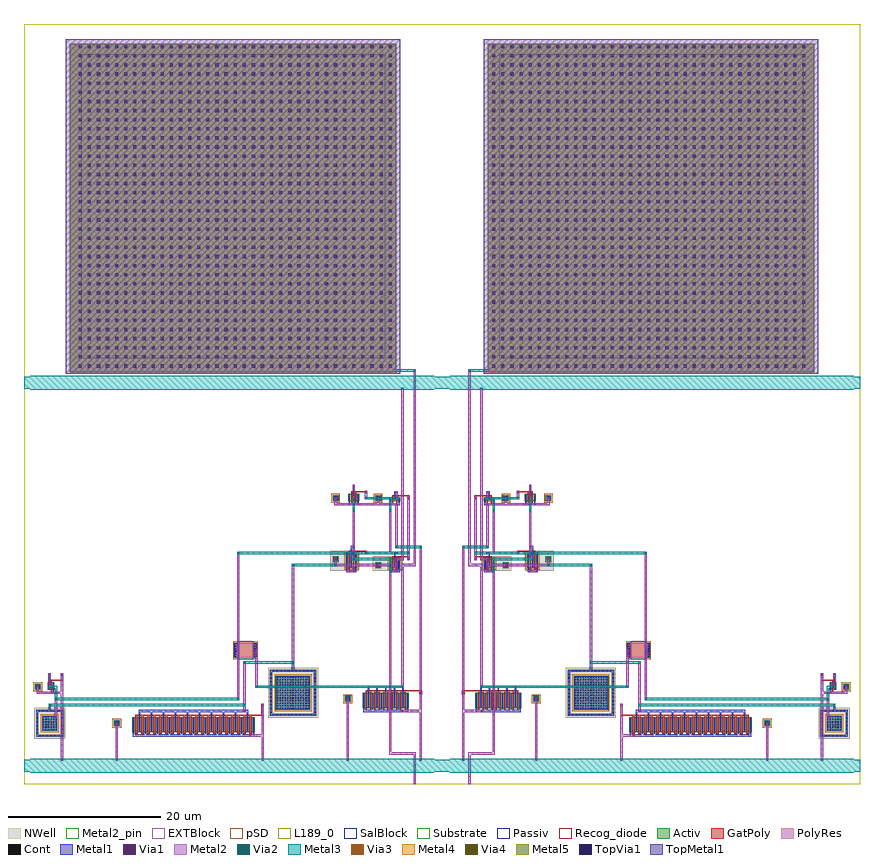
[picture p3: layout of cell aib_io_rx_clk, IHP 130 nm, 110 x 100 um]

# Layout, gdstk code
from math import pi, radians
import gdstk
lib = gdstk.Library(unit=1e-6, precision=1e-09)
def R(c, l, rs):  # rectangles x0, y0, x1, y1
    for r in rs: c.add(gdstk.rectangle(r[:2], r[2:], *l))
def A(c, l, x, y, w, h, nx, ny, dx, dy):  # array of equal rectangles
    R(c, l, [(x+i*dx, y+j*dy, x+i*dx+w, y+j*dy+h) for i in range(nx) for j in range(ny)])
Activ = (1, 0)
GatPoly = (5, 0)
Cont = (6, 0)
Metal1 = (8, 0)
Passiv = (9, 0)
Metal2 = (10, 0)
Metal2_pin = (10, 2)
pSD = (14, 0)
Via1 = (19, 0)
SalBlock = (28, 0)
Via2 = (29, 0)
Metal3 = (30, 0)
NWell = (31, 0)
Substrate = (40, 0)
Via3 = (49, 0)
Metal4 = (50, 0)
Via4 = (66, 0)
Metal5 = (67, 0)
Recog_diode = (99, 31)
EXTBlock = (111, 0)
TopVia1 = (125, 0)
TopMetal1 = (126, 0)
PolyRes = (128, 0)
L189_0 = (189, 0)

aib_io_rx = lib.new_cell('aib_io_rx')
R(aib_io_rx, Activ, [(49.8,6.2,53.4,6.5), (49.8,6.5,50.1,9.5), (53.1,6.5,53.4,9.5), (24.65,6.8,40.75,8.8), (50.6,7,52.6,9), (42.41,7.61,43.19,8.39), (16.55,8.95,22.65,9.25), (16.55,9.25,16.85,14.75), (22.35,9.25,22.65,14.75), (49.8,9.5,53.4,9.8), (17.35,9.75,21.85,14.25), (4.4,10,10.4,12), (12.01,10.81,12.79,11.59), (51,12.4,51.87,13.4), (52.81,12.41,53.59,13.19), (16.55,14.75,22.65,15.05), (5.5,28.4,6.94,29.65), (11.21,28.4,12.65,30.4), (8.01,28.41,8.79,29.19), (13.61,29.21,14.39,29.99), (5.5,37.2,6.94,37.7), (10.9,37.2,12.34,38.2), (8.01,37.21,8.79,37.99), (13.61,37.21,14.39,37.99)])
A(aib_io_rx, GatPoly, 25.02, 6.62, 0.35, 2.49, 20, 1, 0.79, 0)
A(aib_io_rx, GatPoly, 4.77, 9.82, 0.13, 2.49, 10, 1, 0.57, 0)
R(aib_io_rx, GatPoly, [(23.535,8.98,25.021,9.11), (25.02,8.98,40.38,9.11), (23.43,9.045,23.77,10.4), (23.43,10.23,23.77,10.57), (2.63,11.83,2.97,12.17), (2.63,12,2.97,12.245), (2.735,12.18,4.771,12.31), (4.77,12.18,10.03,12.31), (51.37,12.22,51.5,13.71), (49.935,13.58,51.371,13.71), (51.37,13.58,51.5,13.71), (49.83,13.645,50.17,14.4), (49.83,14.23,50.17,14.57), (24.42,16.6,27.28,18.6), (5.87,28.22,6,29.96), (6.44,28.22,6.57,29.96), (11.58,28.22,11.71,30.71), (12.15,28.22,12.28,30.71), (4.23,29.43,4.57,29.77), (4.23,29.6,4.57,29.895), (4.335,29.83,5.871,29.96), (5.87,29.83,6.57,29.96), (9.83,30.23,10.17,30.57), (9.83,30.4,10.17,30.645), (9.935,30.58,11.581,30.71), (11.58,30.58,12.28,30.71), (5.87,37.02,6,38.01), (6.44,37.02,6.57,38.01), (11.27,37.02,11.4,38.51), (11.84,37.02,11.97,38.51), (4.23,37.43,4.57,37.77), (4.23,37.6,4.57,37.945), (4.335,37.88,5.871,38.01), (5.87,37.88,6.57,38.01), (9.83,38.23,10.17,38.57), (9.935,38.38,11.271,38.51), (11.27,38.38,11.97,38.51), (9.83,38.4,10.17,38.445)])
A(aib_io_rx, Cont, 49.87, 6.27, 0.16, 0.16, 7, 2, 0.5, 3.3)
A(aib_io_rx, Cont, 49.87, 6.61, 0.16, 0.16, 1, 6, 0, 0.5)
A(aib_io_rx, Cont, 53.17, 6.61, 0.16, 0.16, 1, 6, 0, 0.5)
A(aib_io_rx, Cont, 24.72, 6.87, 0.16, 0.16, 21, 6, 0.79, 0.34)
A(aib_io_rx, Cont, 50.67, 7.07, 0.16, 0.16, 6, 6, 0.34, 0.34)
A(aib_io_rx, Cont, 16.62, 9.02, 0.16, 0.16, 12, 2, 0.5, 5.8)
A(aib_io_rx, Cont, 16.62, 9.36, 0.16, 0.16, 1, 11, 0, 0.5)
A(aib_io_rx, Cont, 22.42, 9.36, 0.16, 0.16, 1, 11, 0, 0.5)
A(aib_io_rx, Cont, 17.48, 9.88, 0.16, 0.16, 13, 13, 0.34, 0.34)
A(aib_io_rx, Cont, 4.47, 10.07, 0.16, 0.16, 11, 6, 0.57, 0.34)
A(aib_io_rx, Cont, 51.07, 12.48, 0.16, 0.16, 1, 3, 0, 0.34)
A(aib_io_rx, Cont, 51.64, 12.48, 0.16, 0.16, 1, 3, 0, 0.34)
A(aib_io_rx, Cont, 24.49, 16.67, 0.16, 0.16, 1, 6, 0, 0.34)
A(aib_io_rx, Cont, 27.05, 16.67, 0.16, 0.16, 1, 6, 0, 0.34)
A(aib_io_rx, Cont, 11.28, 28.47, 0.16, 0.16, 3, 6, 0.57, 0.34)
A(aib_io_rx, Cont, 5.57, 28.605, 0.16, 0.16, 3, 3, 0.57, 0.34)
A(aib_io_rx, Cont, 10.97, 37.28, 0.16, 0.16, 3, 3, 0.57, 0.34)
A(aib_io_rx, Cont, 5.57, 37.37, 0.16, 0.16, 3, 1, 0.57, 0)
R(aib_io_rx, Cont, [(42.55,7.75,42.71,7.91), (42.89,7.75,43.05,7.91), (42.55,8.09,42.71,8.25), (42.89,8.09,43.05,8.25), (23.52,10.32,23.68,10.48), (12.15,10.95,12.31,11.11), (12.49,10.95,12.65,11.11), (12.15,11.29,12.31,11.45), (12.49,11.29,12.65,11.45), (2.72,11.92,2.88,12.08), (52.95,12.55,53.11,12.71), (53.29,12.55,53.45,12.71), (52.95,12.89,53.11,13.05), (53.29,12.89,53.45,13.05), (49.92,14.32,50.08,14.48), (8.15,28.55,8.31,28.71), (8.49,28.55,8.65,28.71), (8.15,28.89,8.31,29.05), (8.49,28.89,8.65,29.05), (13.75,29.35,13.91,29.51), (14.09,29.35,14.25,29.51), (4.32,29.52,4.48,29.68), (13.75,29.69,13.91,29.85), (14.09,29.69,14.25,29.85), (9.92,30.32,10.08,30.48), (8.15,37.35,8.31,37.51), (8.49,37.35,8.65,37.51), (13.75,37.35,13.91,37.51), (14.09,37.35,14.25,37.51), (4.32,37.52,4.48,37.68), (8.15,37.69,8.31,37.85), (8.49,37.69,8.65,37.85), (13.75,37.69,13.91,37.85), (14.09,37.69,14.25,37.85), (9.92,38.32,10.08,38.48)])
A(aib_io_rx, Metal1, 24.72, 6.25, 0.16, 2.48, 11, 1, 1.58, 0)
A(aib_io_rx, Metal1, 25.51, 6.87, 0.16, 2.88, 10, 1, 1.58, 0)
A(aib_io_rx, Metal1, 4.47, 9.45, 0.16, 2.48, 6, 1, 1.14, 0)
A(aib_io_rx, Metal1, 5.04, 10.07, 0.16, 2.88, 5, 1, 1.14, 0)
R(aib_io_rx, Metal1, [(49.8,6.2,53.4,6.5), (24.72,6.25,40.68,6.55), (49.8,6.5,50.1,9.5), (53.1,6.5,53.4,9.5), (50.6,7,52.6,9), (42.55,7.75,43.05,8.25), (16.55,8.95,22.65,9.25), (16.55,9.25,16.85,14.75), (22.35,9.25,22.65,14.75), (4.47,9.45,10.33,9.75), (25.51,9.45,39.89,9.75), (49.8,9.5,53.4,9.8), (51.45,9.5,51.75,10.55), (17.41,9.81,21.79,14.19), (23.45,10.25,23.75,10.55), (12.15,10.95,12.65,11.45), (2.65,11.85,2.95,12.15), (50.65,11.85,51.23,12.15), (51.07,11.85,51.23,13.32), (51.64,12.48,51.8,14.55), (52.95,12.55,53.45,13.05), (5.04,12.65,9.76,12.95), (49.85,14.25,50.15,14.55), (51.45,14.25,51.8,14.55), (16.55,14.75,22.65,15.05), (19.45,14.75,19.75,16.15), (24.34,16.6,24.8,18.6), (26.9,16.6,27.36,18.6), (24.25,17.45,24.8,17.75), (26.65,17.45,27.36,17.75), (5.57,27.85,5.73,29.445), (5.57,27.85,6.87,28.15), (6.71,27.85,6.87,29.445), (11.28,27.85,11.44,30.33), (11.28,27.85,12.58,28.15), (12.42,27.85,12.58,30.33), (11.85,28.47,12.01,31.35), (8.15,28.55,8.65,29.05), (6.14,28.605,6.3,30.55), (13.75,29.35,14.25,29.85), (4.25,29.45,4.55,29.75), (5.85,30.25,6.3,30.55), (9.85,30.25,10.15,30.55), (11.45,31.05,12.01,31.35), (5.57,36.65,6.87,36.95), (5.57,36.65,5.73,37.53), (6.71,36.65,6.87,37.53), (10.97,36.65,11.13,38.12), (10.97,36.65,12.27,36.95), (12.11,36.65,12.27,38.12), (11.54,37.28,11.7,39.35), (8.15,37.35,8.65,37.85), (13.75,37.35,14.25,37.85), (6.14,37.37,6.3,38.55), (4.25,37.45,4.55,37.75), (5.85,38.25,6.3,38.55), (9.85,38.25,10.15,38.55), (11.45,39.05,11.75,39.35)])
R(aib_io_rx, Passiv, [(7.5,56,47.5,96)])
A(aib_io_rx, Metal2, 3.45, 1.45, 0.3, 1.1, 1, 3, 0, 0.8)
A(aib_io_rx, Metal2, 2.65, 3.05, 0.3, 1.1, 1, 33, 0, 0.8)
A(aib_io_rx, Metal2, 12.25, 3.05, 0.3, 1.1, 1, 10, 0, 0.8)
A(aib_io_rx, Metal2, 23.45, 3.05, 0.3, 1.1, 1, 9, 0, 0.8)
A(aib_io_rx, Metal2, 42.65, 3.05, 0.3, 1.1, 1, 6, 0, 0.8)
A(aib_io_rx, Metal2, 49.85, 3.05, 0.3, 1.1, 1, 14, 0, 0.8)
A(aib_io_rx, Metal2, 3.45, 3.85, 1.1, 0.3, 4, 1, 0.8, 0)
A(aib_io_rx, Metal2, 6.65, 3.85, 0.3, 1.1, 1, 30, 0, 0.8)
A(aib_io_rx, Metal2, 50.65, 8.65, 0.3, 1.1, 1, 3, 0, 0.8)
A(aib_io_rx, Metal2, 2.65, 9.45, 1.1, 0.3, 3, 1, 0.8, 0)
A(aib_io_rx, Metal2, 25.85, 9.45, 0.3, 1.1, 1, 8, 0, 0.8)
A(aib_io_rx, Metal2, 26.65, 11.05, 0.3, 1.1, 1, 21, 0, 0.8)
A(aib_io_rx, Metal2, 49.85, 11.85, 1.1, 0.3, 4, 1, 0.8, 0)
A(aib_io_rx, Metal2, 5.05, 12.65, 0.3, 1.1, 1, 20, 0, 0.8)
A(aib_io_rx, Metal2, 24.25, 12.65, 0.3, 1.1, 1, 6, 0, 0.8)
A(aib_io_rx, Metal2, 19.45, 15.85, 0.3, 1.1, 1, 15, 0, 0.8)
A(aib_io_rx, Metal2, 11.45, 27.85, 0.3, 0.3, 1, 3, 0, 1.6)
A(aib_io_rx, Metal2, 12.25, 27.85, 0.3, 1.1, 3, 1, 7.2, 0)
A(aib_io_rx, Metal2, 5.85, 28.65, 1.1, 0.3, 10, 2, 0.8, 8)
A(aib_io_rx, Metal2, 8.25, 28.65, 0.3, 0.3, 3, 1, 5.6, 0)
A(aib_io_rx, Metal2, 2.65, 29.45, 0.3, 1.1, 4, 2, 0.8, 0.8)
A(aib_io_rx, Metal2, 11.45, 29.45, 0.3, 1.1, 1, 8, 0, 0.8)
A(aib_io_rx, Metal2, 5.85, 30.25, 1.1, 0.3, 5, 1, 0.8, 0)
A(aib_io_rx, Metal2, 3.45, 31.05, 0.3, 1.1, 5, 6, 0.8, 0.8)
A(aib_io_rx, Metal2, 3.45, 35.85, 0.3, 1.1, 4, 1, 0.8, 0)
A(aib_io_rx, Metal2, 3.45, 36.65, 0.3, 1.1, 3, 1, 0.8, 0)
A(aib_io_rx, Metal2, 5.85, 36.65, 0.3, 0.3, 1, 3, 0, 0.8)
A(aib_io_rx, Metal2, 3.45, 37.45, 0.3, 1.1, 1, 21, 0, 0.8)
A(aib_io_rx, Metal2, 5.05, 37.45, 0.3, 1.1, 1, 18, 0, 0.8)
A(aib_io_rx, Metal2, 8.25, 37.45, 0.3, 0.3, 3, 1, 1.6, 0)
R(aib_io_rx, Metal2, [(3.45,0,3.75,4.15), (2.65,3.05,2.95,3.35), (12.25,3.05,12.55,3.35), (23.45,3.05,23.75,3.35), (42.65,3.05,42.95,3.35), (49.85,3.05,50.15,3.35), (23.45,6.25,24.55,6.55), (24.25,6.25,25.35,6.55), (25.05,6.25,25.35,6.55), (42.65,7.85,42.95,8.15), (50.65,8.65,50.95,8.95), (5.05,9.45,5.35,9.75), (25.85,9.45,26.15,9.75), (23.45,10.25,23.75,10.55), (25.85,10.25,26.15,10.55), (51.45,10.25,51.75,10.55), (51.45,10.25,51.75,10.55), (12.25,11.05,12.55,11.35), (26.65,11.05,26.95,11.35), (50.65,11.05,50.95,11.35), (2.65,11.85,2.95,12.15), (50.65,11.85,50.95,12.15), (53.05,11.85,53.35,12.95), (5.05,12.65,5.35,12.95), (5.05,12.65,5.35,12.95), (17.85,12.65,18.15,12.95), (17.85,12.65,18.15,12.95), (24.25,12.65,24.55,12.95), (51.45,12.65,51.75,13.75), (51.45,12.65,51.75,12.95), (53.05,12.65,53.35,12.95), (51.45,13.45,51.75,14.55), (49.85,14.25,50.15,14.55), (51.45,14.25,51.75,14.55), (19.45,15.85,19.75,16.15), (19.45,15.85,19.75,16.15), (25.85,15.85,26.15,16.15), (24.25,17.45,24.55,17.75), (26.65,17.45,26.95,17.75), (5.85,27.85,6.15,28.95), (5.85,27.85,6.15,28.15), (6.65,27.85,6.95,28.15), (11.45,27.85,11.75,28.95), (11.45,27.85,12.55,28.15), (3.45,28.65,3.75,29.75), (3.45,28.65,4.55,28.95), (4.25,28.65,5.35,28.95), (5.85,28.65,6.15,29.75), (13.85,28.65,14.15,29.75), (26.65,28.65,26.95,29.75), (4.25,29.45,4.55,29.75), (5.05,29.45,6.15,29.75), (13.85,29.45,14.15,29.75), (26.65,29.45,26.95,30.55), (4.25,30.25,4.55,30.55), (5.85,30.25,6.15,30.55), (6.65,30.25,6.95,31.35), (9.85,30.25,10.15,30.55), (26.65,30.25,26.95,30.55), (2.65,31.05,2.95,31.35), (5.85,31.05,6.15,31.35), (6.65,35.85,6.95,36.15), (11.45,35.85,11.75,36.15), (8.25,36.65,8.55,37.75), (11.45,36.65,11.75,36.95), (13.85,36.65,14.15,37.75), (4.25,37.45,4.55,37.75), (5.85,37.45,6.15,38.55), (9.85,37.45,10.15,38.55), (11.45,37.45,11.75,38.55), (13.85,37.45,14.15,37.75), (9.85,38.25,10.15,38.55), (11.45,38.25,11.75,39.35), (11.45,39.05,11.75,39.35), (5.05,51.85,5.35,52.15), (3.45,54.25,3.75,54.55)])
R(aib_io_rx, Metal2_pin, [(3.45,0,3.75,1)])
R(aib_io_rx, pSD, [(50.42,6.82,52.78,9.18), (42.23,7.43,43.37,8.57), (17.17,9.57,22.03,14.43), (11.83,10.63,12.97,11.77), (52.63,12.23,53.77,13.37), (24.24,16.42,27.46,18.78), (5.32,28.22,7.12,29.83), (11.03,28.22,12.83,30.58), (7.83,37.03,8.97,38.17), (13.43,37.03,14.57,38.17)])
R(aib_io_rx, Via1, [(25.105,6.305,25.295,6.495), (42.705,7.905,42.895,8.095), (50.705,8.705,50.895,8.895), (5.105,9.505,5.295,9.695), (25.905,9.505,26.095,9.695), (23.505,10.305,23.695,10.495), (51.505,10.305,51.695,10.495), (12.305,11.105,12.495,11.295), (2.705,11.905,2.895,12.095), (50.705,11.905,50.895,12.095), (5.105,12.705,5.295,12.895), (17.905,12.705,18.095,12.895), (53.105,12.705,53.295,12.895), (49.905,14.305,50.095,14.495), (51.505,14.305,51.695,14.495), (19.505,15.905,19.695,16.095), (24.305,17.505,24.495,17.695), (26.705,17.505,26.895,17.695), (5.905,27.905,6.095,28.095), (11.505,27.905,11.695,28.095), (8.305,28.705,8.495,28.895), (4.305,29.505,4.495,29.695), (13.905,29.505,14.095,29.695), (5.905,30.305,6.095,30.495), (9.905,30.305,10.095,30.495), (11.505,31.105,11.695,31.295), (5.905,36.705,6.095,36.895), (11.505,36.705,11.695,36.895), (4.305,37.505,4.495,37.695), (8.305,37.505,8.495,37.695), (13.905,37.505,14.095,37.695), (5.905,38.305,6.095,38.495), (9.905,38.305,10.095,38.495), (11.505,39.105,11.695,39.295)])
R(aib_io_rx, SalBlock, [(24.85,16.4,26.85,18.8)])
R(aib_io_rx, Via2, [(2.705,3.105,2.895,3.295), (12.305,3.105,12.495,3.295), (23.505,3.105,23.695,3.295), (42.705,3.105,42.895,3.295), (49.905,3.105,50.095,3.295), (25.905,10.305,26.095,10.495), (51.505,10.305,51.695,10.495), (26.705,11.105,26.895,11.295), (50.705,11.105,50.895,11.295), (5.105,12.705,5.295,12.895), (17.905,12.705,18.095,12.895), (24.305,12.705,24.495,12.895), (51.505,12.705,51.695,12.895), (19.505,15.905,19.695,16.095), (25.905,15.905,26.095,16.095), (6.705,27.905,6.895,28.095), (13.905,28.705,14.095,28.895), (19.505,28.705,19.695,28.895), (11.505,29.505,11.695,29.695), (4.305,30.305,4.495,30.495), (26.705,30.305,26.895,30.495), (2.705,31.105,2.895,31.295), (5.905,31.105,6.095,31.295), (6.705,35.905,6.895,36.095), (11.505,35.905,11.695,36.095), (5.905,37.505,6.095,37.695), (9.905,37.505,10.095,37.695), (11.505,37.505,11.695,37.695), (5.105,51.905,5.295,52.095), (3.505,54.305,3.695,54.495)])
A(aib_io_rx, Metal3, 1.05, 1.45, 1.1, 0.3, 66, 3, 0.8, 0.8)
A(aib_io_rx, Metal3, 1.05, 1.45, 0.3, 1.1, 67, 2, 0.8, 0.8)
A(aib_io_rx, Metal3, 25.85, 10.25, 1.1, 0.3, 32, 1, 0.8, 0)
A(aib_io_rx, Metal3, 26.65, 11.05, 1.1, 0.3, 30, 1, 0.8, 0)
A(aib_io_rx, Metal3, 5.05, 12.65, 1.1, 0.3, 24, 1, 0.8, 0)
A(aib_io_rx, Metal3, 19.45, 15.85, 1.1, 0.3, 8, 1, 0.8, 0)
A(aib_io_rx, Metal3, 13.85, 28.65, 1.1, 0.3, 7, 1, 0.8, 0)
A(aib_io_rx, Metal3, 6.65, 29.45, 1.1, 0.3, 6, 1, 0.8, 0)
A(aib_io_rx, Metal3, 4.25, 30.25, 1.1, 0.3, 28, 1, 0.8, 0)
A(aib_io_rx, Metal3, 2.65, 31.05, 1.1, 0.3, 4, 1, 0.8, 0)
A(aib_io_rx, Metal3, 5.85, 37.45, 1.1, 0.3, 5, 1, 0.8, 0)
A(aib_io_rx, Metal3, 1.05, 51.85, 1.1, 0.3, 66, 3, 0.8, 0.8)
A(aib_io_rx, Metal3, 1.05, 51.85, 0.3, 1.1, 67, 2, 0.8, 0.8)
A(aib_io_rx, Metal3, 3.45, 54.25, 1.1, 0.3, 56, 1, 0.8, 0)
R(aib_io_rx, Metal3, [(0,1.6,55,3.2), (2.65,3.05,2.95,3.35), (12.25,3.05,12.55,3.35), (23.45,3.05,23.75,3.35), (42.65,3.05,42.95,3.35), (49.85,3.05,50.15,3.35), (25.85,10.25,26.15,10.55), (51.45,10.25,51.75,10.55), (26.65,11.05,26.95,11.35), (50.65,11.05,50.95,12.15), (50.65,11.05,50.95,11.35), (50.65,11.85,50.95,12.95), (5.05,12.65,5.35,12.95), (17.85,12.65,18.15,12.95), (24.25,12.65,24.55,12.95), (50.65,12.65,51.75,12.95), (51.45,12.65,51.75,12.95), (19.45,15.85,19.75,16.15), (25.85,15.85,26.15,16.15), (6.65,27.85,6.95,28.95), (6.65,27.85,6.95,28.15), (6.65,28.65,6.95,29.75), (13.85,28.65,14.15,28.95), (19.45,28.65,19.75,28.95), (11.45,29.45,11.75,29.75), (4.25,30.25,4.55,30.55), (26.65,30.25,26.95,30.55), (2.65,31.05,2.95,31.35), (5.85,31.05,6.15,31.35), (6.65,35.85,6.95,36.95), (6.65,35.85,6.95,36.15), (11.45,35.85,11.75,36.95), (11.45,35.85,11.75,36.15), (6.65,36.65,6.95,37.75), (11.45,36.65,11.75,37.75), (5.85,37.45,6.15,37.75), (9.85,37.45,10.15,37.75), (11.45,37.45,11.75,37.75), (5.05,51.85,5.35,52.15), (0,52,55,53.6), (6,54.2,49,97.4), (3.45,54.25,3.75,54.55)])
R(aib_io_rx, NWell, [(49.56,5.96,53.64,10.04), (16.31,8.71,22.89,15.29), (5.19,28.09,9.1,29.96), (10.9,28.09,14.7,30.71)])
R(aib_io_rx, Substrate, [(42.41,7.61,43.19,8.39), (12.01,10.81,12.79,11.59), (52.81,12.41,53.59,13.19), (8.01,37.21,8.79,37.99), (13.61,37.21,14.39,37.99)])
A(aib_io_rx, Via3, 6.6, 54.8, 0.19, 0.19, 35, 36, 1.2, 1.2)
R(aib_io_rx, Metal4, [(6,54.2,49,97.4)])
A(aib_io_rx, Via4, 6.6, 54.8, 0.19, 0.19, 35, 36, 1.2, 1.2)
R(aib_io_rx, Metal5, [(6,54.2,49,97.4)])
R(aib_io_rx, Recog_diode, [(50.6,7,52.6,9), (17.35,9.75,21.85,14.25)])
R(aib_io_rx, EXTBlock, [(24.24,16.42,27.46,18.78)])
A(aib_io_rx, TopVia1, 6.6, 54.8, 0.42, 0.42, 35, 36, 1.2, 1.2)
R(aib_io_rx, TopMetal1, [(5.5,54,49.5,98)])
R(aib_io_rx, PolyRes, [(24.85,16.6,26.85,18.6)])
R(aib_io_rx, L189_0, [(0,0,55,100)])
aib_io_rx.add(gdstk.Label('VSS', (1,2.4), layer=30, texttype=1))
aib_io_rx.add(gdstk.Label('VDDIO', (1,52.8), layer=30, texttype=1))
aib_io_rx.add(gdstk.Label('PAD', (27.5,76), layer=126, texttype=1))
aib_io_rx.add(gdstk.Label('sub!', (12.4,11.2), layer=63, texttype=0))
aib_io_rx.add(gdstk.Label('well', (16.7,12), layer=63, texttype=0))
aib_io_rx.add(gdstk.Label('sub!', (42.8,8), layer=63, texttype=0))
aib_io_rx.add(gdstk.Label('well', (49.95,8), layer=63, texttype=0))
aib_io_rx.add(gdstk.Label('sub!', (53.2,12.8), layer=63, texttype=0))
aib_io_rx.add(gdstk.Label('well', (8.4,28.8), layer=63, texttype=0))
aib_io_rx.add(gdstk.Label('well', (14,29.6), layer=63, texttype=0))
aib_io_rx.add(gdstk.Label('sub!', (8.4,37.6), layer=63, texttype=0))
aib_io_rx.add(gdstk.Label('sub!', (14,37.6), layer=63, texttype=0))
aib_io_rx.add(gdstk.Label('DOUT', (3.6,0.5), layer=10, texttype=1))

aib_io_rx_clk = lib.new_cell('aib_io_rx_clk')
R(aib_io_rx_clk, L189_0, [(0,0,110,100)])
aib_io_rx_clk.add(gdstk.Reference(aib_io_rx, (55,0), rotation=pi, x_reflection=True))
aib_io_rx_clk.add(gdstk.Reference(aib_io_rx, (55,0)))

lib.write_gds('aib_io_rx_clk.gds')
